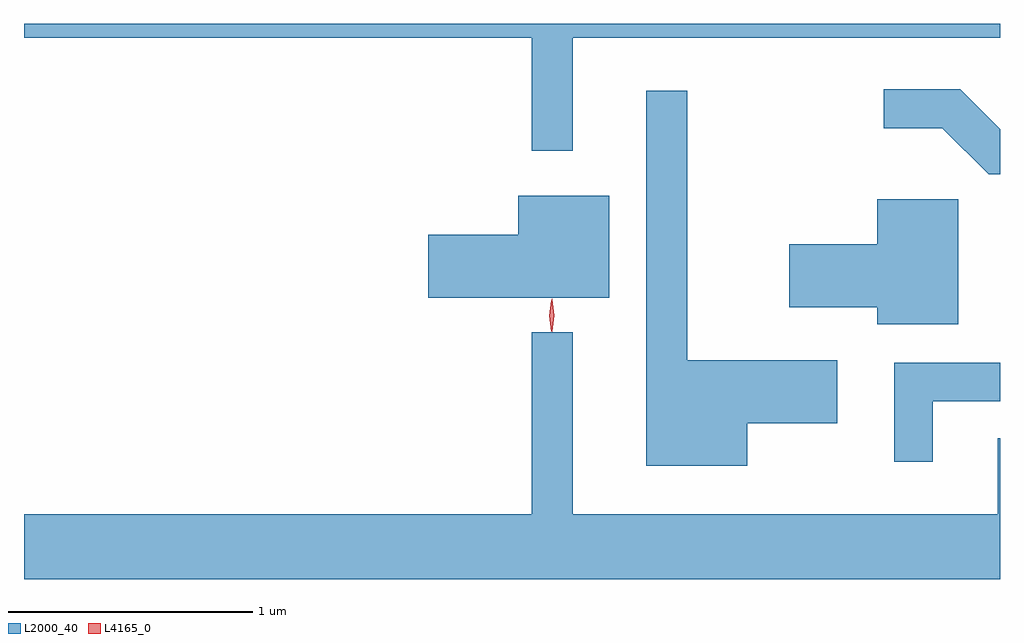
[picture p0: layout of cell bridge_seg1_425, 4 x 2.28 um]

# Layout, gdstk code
import gdstk
lib = gdstk.Library(unit=1e-6, precision=1e-09)
def P(c, l, *ps):  # polygons
    for p in ps: c.add(gdstk.Polygon(p, *l))
L2000_40 = (2000, 40)
L4165_0 = (4165, 0)

bridge_seg1_425 = lib.new_cell('bridge_seg1_425')
P(bridge_seg1_425, L2000_40, [(211.079,855.176),(212.83,855.176),(212.83,855.234),(208.83,855.234),(208.83,855.176),(210.911,855.176),(210.911,854.713),(211.079,854.713)],
  [(212.83,854.801),(212.667,854.964),(212.353,854.964),(212.353,854.806),(212.594,854.806),(212.784,854.616),(212.83,854.616)],
  [(211.794,853.596),(212.164,853.596),(212.164,853.854),(211.549,853.854),(211.549,854.958),(211.381,854.958),(211.381,853.421),(211.794,853.421)],
  [(211.229,854.529),(210.856,854.529),(210.856,854.369),(210.486,854.369),(210.486,854.111),(211.229,854.111)],
  [(212.659,854.514),(212.326,854.514),(212.326,854.329),(211.966,854.329),(211.966,854.071),(212.326,854.071),(212.326,854.001),(212.659,854.001)],
  [(212.83,853.534),(212.821,853.534),(212.821,853.224),(211.079,853.224),(211.079,853.968),(210.911,853.968),(210.911,853.224),(208.83,853.224),(208.83,852.956),(212.83,852.956)],
  [(212.554,853.686),(212.83,853.686),(212.83,853.844),(212.396,853.844),(212.396,853.438),(212.554,853.438)])
P(bridge_seg1_425, L4165_0, [(210.992,853.973),(210.991,853.974),(210.982,854.036),(210.991,854.099),(210.992,854.1),(210.992,854.099),(211.002,854.036),(210.992,853.974)],
  [(210.994,853.97),(210.984,854.038),(210.993,854.105),(210.994,854.106),(210.994,854.105),(211.004,854.038),(210.995,853.97),(210.995,853.97)])

lib.write_gds('bridge_seg1_425.gds')
